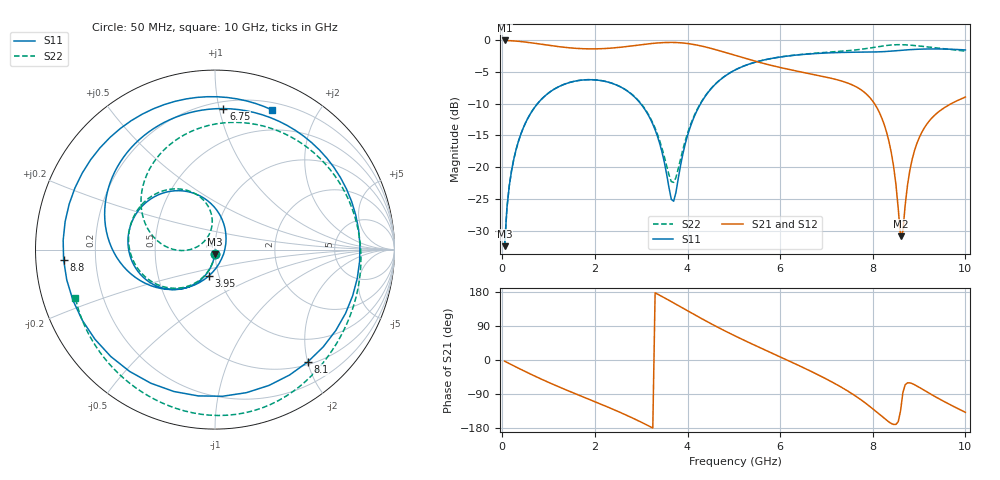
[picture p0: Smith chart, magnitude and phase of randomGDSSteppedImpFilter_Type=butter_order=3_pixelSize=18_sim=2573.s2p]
! freq	dB(S11)	phase(S11)	dB(S12)	phase(S12)
!  dB(S21)	phase(S21)	dB(S22)	phase(S22)
!S-par simulation data
#  GHz  S  DB  R 50
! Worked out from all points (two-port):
!   200 points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, 50 MHz to 10 GHz, reference 50 ohm
!   highest |S21| = -0.01 dB at 50 MHz (marker M1); lowest = -30.9 dB at 8.6 GHz (marker M2)
!   |S21| within 3 dB of the highest: start of sweep to 5.326 GHz
!   lowest |S11| = -32.5 dB at 50 MHz (marker M3), VSWR 1.05, Z = 49.8 - j2.37 ohm
!   |S11| at or under -10 dB: start of sweep to 758.9 MHz; 2.99 GHz to 4.282 GHz (1.292 GHz wide, 35.5 % of centre)
!   |S22| runs from -32.5 to -0.7 dB; largest |S21 - S12| = 0
!   S11 on the Smith chart (normalised r, x): 50 MHz: 1.00, -0.05; 3.95 GHz: 0.89, -0.27; 6.75 GHz: 0.25, +1.03; 8.1 GHz: 0.55, -2.00; 8.8 GHz: 0.08, -0.03; 10 GHz: 0.27, +1.46
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0.05  -32.47 -93.0  -0.01 -3.2  -0.01 -3.2  -32.47 -93.2
0.2  -20.56 -102.7  -0.06 -12.5  -0.06 -12.5  -20.56 -103.2
0.5  -13.04 -120.4  -0.26 -30.7  -0.26 -30.7  -13.04 -121.7
1.1  -7.79 -153.6  -0.87 -64.5  -0.87 -64.5  -7.79 -156.3
1.75  -6.24 173.9  -1.31 -97.7  -1.31 -97.7  -6.23 170.0
2.7  -7.99 124.8  -0.96 -146.7  -0.96 -146.7  -7.96 122.2
3.4  -16.29 71.7  -0.38 170.8  -0.38 170.8  -15.85 95.4
3.7  -25.38 -26.5  -0.32 150.6  -0.32 150.6  -22.41 143.8
3.95  -16.34 -103.6  -0.45 133.4  -0.45 133.4  -15.84 -178.5
4.45  -8.15 -147.6  -1.15 99.5  -1.15 99.5  -8.10 162.6
5.05  -4.58 175.9  -2.42 62.1  -2.42 62.1  -4.57 126.1
5.85  -2.80 134.6  -4.02 16.6  -4.02 16.6  -2.80 77.3
6.7  -2.10 89.6  -5.34 -31.9  -5.34 -31.9  -2.05 25.9
6.75  -2.08 86.6  -5.42 -34.9  -5.42 -34.9  -2.02 22.9
7.25  -1.91 52.0  -6.25 -66.8  -6.25 -66.8  -1.75 -6.6
7.65  -1.86 13.8  -7.36 -96.9  -7.36 -96.9  -1.49 -29.4
8.1  -1.81 -50.5  -10.76 -139.0  -10.76 -139.0  -1.01 -55.0
8.35  -1.72 -96.6  -15.97 -163.7  -15.97 -163.7  -0.76 -70.2
8.6  -1.57 -143.2  -30.90 -134.3  -30.90 -134.3  -0.67 -85.7
8.8  -1.46 -176.1  -20.53 -60.3  -20.53 -60.3  -0.74 -97.7
9.35  -1.34 118.3  -11.71 -96.9  -11.71 -96.9  -1.16 -127.9
10  -1.51 67.7  -8.94 -138.0  -8.94 -138.0  -1.69 -161.1
